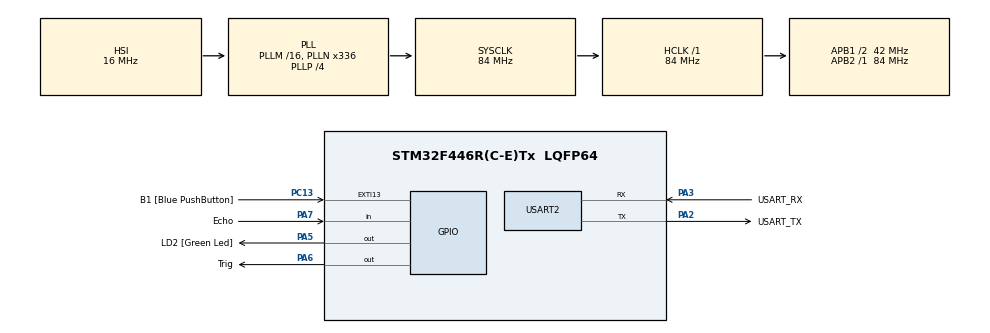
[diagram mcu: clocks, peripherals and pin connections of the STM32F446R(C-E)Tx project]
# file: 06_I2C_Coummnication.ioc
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Mcu.Family=STM32F4
Mcu.Name=STM32F446R(C-E)Tx
Mcu.Package=LQFP64
NVIC.PriorityGroup=NVIC_PRIORITYGROUP_0
PA13.GPIO_Label=TMS
PA13.Signal=SYS_JTMS-SWDIO
PA14.GPIO_Label=TCK
PA14.Signal=SYS_JTCK-SWCLK
PA2.GPIO_Label=USART_TX
PA2.Mode=Asynchronous
PA2.Signal=USART2_TX
PA3.GPIO_Label=USART_RX
PA3.Mode=Asynchronous
PA3.Signal=USART2_RX
PA5.GPIO_Label=LD2 [Green Led]
PA5.Signal=GPIO_Output
PA6.GPIO_Label=Trig
PA6.Signal=GPIO_Output
PA7.GPIO_Label=Echo
PA7.Signal=GPIO_Input
PB3.GPIO_Label=SWO
PB3.Signal=SYS_JTDO-SWO
PC13.GPIO_Label=B1 [Blue PushButton]
PC13.GPIO_ModeDefaultEXTI=GPIO_MODE_IT_FALLING
PC13.Signal=GPXTI13
PC14-OSC32_IN.Signal=RCC_OSC32_IN
PC15-OSC32_OUT.Signal=RCC_OSC32_OUT
PH0-OSC_IN.Signal=RCC_OSC_IN
PH1-OSC_OUT.Signal=RCC_OSC_OUT
ProjectManager.HeapSize=0x200
ProjectManager.StackSize=0x400
ProjectManager.TargetToolchain=STM32CubeIDE
RCC.AHBFreq_Value=84000000
RCC.APB1CLKDivider=RCC_HCLK_DIV2
RCC.APB1Freq_Value=42000000
RCC.APB1TimFreq_Value=84000000
RCC.APB2Freq_Value=84000000
RCC.APB2TimFreq_Value=84000000
RCC.CortexFreq_Value=84000000
RCC.FLatency-AdvancedSettings=FLASH_LATENCY_2
RCC.HCLKFreq_Value=84000000
RCC.HSE_VALUE=8000000
RCC.HSI_VALUE=16000000
RCC.LSE_VALUE=32768
RCC.PLLN=336
RCC.PLLP=RCC_PLLP_DIV4
RCC.SYSCLKFreq_VALUE=84000000
RCC.SYSCLKSource=RCC_SYSCLKSOURCE_PLLCLK
RCC.USBFreq_Value=168000000
RCC.VCOOutputFreq_Value=336000000
TIM2.Prescaler=83
USART2.VirtualMode=VM_ASYNC
VP_TIM2_VS_ClockSourceINT.Mode=Internal
board=NUCLEO-F446RE

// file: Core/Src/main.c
/* USER CODE BEGIN Header */
/**
  ******************************************************************************
  * @file           : main.c
  * @brief          : Main program body
  ******************************************************************************
  * @attention
  *
  * Copyright (c) 2026 STMicroelectronics.
  * All rights reserved.
  *
  * This software is licensed under terms that can be found in the LICENSE file
  * in the root directory of this software component.
  * If no LICENSE file comes with this software, it is provided AS-IS.
  *
  ******************************************************************************
  */
/* USER CODE END Header */
#include "main.h"
#include <stdio.h>
#include <string.h>

TIM_HandleTypeDef htim2;

UART_HandleTypeDef huart2;

void SystemClock_Config(void);
static void MX_GPIO_Init(void);
static void MX_TIM2_Init(void);
static void MX_USART2_UART_Init(void);
/* USER CODE BEGIN PFP */
uint32_t get_distance(void);
/* USER CODE END PFP */

int main(void)
{

  /* MCU Configuration--------------------------------------------------------*/

  /* Reset of all peripherals, Initializes the Flash interface and the Systick. */
  HAL_Init();

  /* Configure the system clock */
  SystemClock_Config();

  /* Initialize all configured peripherals */
  MX_GPIO_Init();
  MX_TIM2_Init();
  MX_USART2_UART_Init();
  /* USER CODE BEGIN 2 */
  HAL_TIM_Base_Start(&htim2);
  /* USER CODE END 2 */

  /* Infinite loop */
  while (1)
  {
	  uint32_t distance = get_distance();

	  char msg[32];
	  sprintf(msg, "Distance: %lu cm\r\n", distance);
	  HAL_UART_Transmit(&huart2, (uint8_t*)msg, strlen(msg), HAL_MAX_DELAY);

	  HAL_Delay(500);
  }
}

void SystemClock_Config(void)
{
  RCC_OscInitTypeDef RCC_OscInitStruct = {0};
  RCC_ClkInitTypeDef RCC_ClkInitStruct = {0};

  /** Configure the main internal regulator output voltage
  */
  __HAL_RCC_PWR_CLK_ENABLE();
  __HAL_PWR_VOLTAGESCALING_CONFIG(PWR_REGULATOR_VOLTAGE_SCALE3);

  /** Initializes the RCC Oscillators according to the specified parameters
  * in the RCC_OscInitTypeDef structure.
  */
  RCC_OscInitStruct.OscillatorType = RCC_OSCILLATORTYPE_HSI;
  RCC_OscInitStruct.HSIState = RCC_HSI_ON;
  RCC_OscInitStruct.HSICalibrationValue = RCC_HSICALIBRATION_DEFAULT;
  RCC_OscInitStruct.PLL.PLLState = RCC_PLL_ON;
  RCC_OscInitStruct.PLL.PLLSource = RCC_PLLSOURCE_HSI;
  RCC_OscInitStruct.PLL.PLLM = 16;
  RCC_OscInitStruct.PLL.PLLN = 336;
  RCC_OscInitStruct.PLL.PLLP = RCC_PLLP_DIV4;
  RCC_OscInitStruct.PLL.PLLQ = 2;
  RCC_OscInitStruct.PLL.PLLR = 2;
  if (HAL_RCC_OscConfig(&RCC_OscInitStruct) != HAL_OK)
  {
    Error_Handler();
  }

  /** Initializes the CPU, AHB and APB buses clocks
  */
  RCC_ClkInitStruct.ClockType = RCC_CLOCKTYPE_HCLK|RCC_CLOCKTYPE_SYSCLK
                              |RCC_CLOCKTYPE_PCLK1|RCC_CLOCKTYPE_PCLK2;
  RCC_ClkInitStruct.SYSCLKSource = RCC_SYSCLKSOURCE_PLLCLK;
  RCC_ClkInitStruct.AHBCLKDivider = RCC_SYSCLK_DIV1;
  RCC_ClkInitStruct.APB1CLKDivider = RCC_HCLK_DIV2;
  RCC_ClkInitStruct.APB2CLKDivider = RCC_HCLK_DIV1;

  if (HAL_RCC_ClockConfig(&RCC_ClkInitStruct, FLASH_LATENCY_2) != HAL_OK)
  {
    Error_Handler();
  }
}

static void MX_TIM2_Init(void)
{

  TIM_ClockConfigTypeDef sClockSourceConfig = {0};
  TIM_MasterConfigTypeDef sMasterConfig = {0};

  htim2.Instance = TIM2;
  htim2.Init.Prescaler = 83;
  htim2.Init.CounterMode = TIM_COUNTERMODE_UP;
  htim2.Init.Period = 4294967295;
  htim2.Init.ClockDivision = TIM_CLOCKDIVISION_DIV1;
  htim2.Init.AutoReloadPreload = TIM_AUTORELOAD_PRELOAD_DISABLE;
  if (HAL_TIM_Base_Init(&htim2) != HAL_OK)
  {
    Error_Handler();
  }
  sClockSourceConfig.ClockSource = TIM_CLOCKSOURCE_INTERNAL;
  if (HAL_TIM_ConfigClockSource(&htim2, &sClockSourceConfig) != HAL_OK)
  {
    Error_Handler();
  }
  sMasterConfig.MasterOutputTrigger = TIM_TRGO_RESET;
  sMasterConfig.MasterSlaveMode = TIM_MASTERSLAVEMODE_DISABLE;
  if (HAL_TIMEx_MasterConfigSynchronization(&htim2, &sMasterConfig) != HAL_OK)
  {
    Error_Handler();
  }

}

static void MX_USART2_UART_Init(void)
{

  huart2.Instance = USART2;
  huart2.Init.BaudRate = 115200;
  huart2.Init.WordLength = UART_WORDLENGTH_8B;
  huart2.Init.StopBits = UART_STOPBITS_1;
  huart2.Init.Parity = UART_PARITY_NONE;
  huart2.Init.Mode = UART_MODE_TX_RX;
  huart2.Init.HwFlowCtl = UART_HWCONTROL_NONE;
  huart2.Init.OverSampling = UART_OVERSAMPLING_16;
  if (HAL_UART_Init(&huart2) != HAL_OK)
  {
    Error_Handler();
  }

}

static void MX_GPIO_Init(void)
{
  GPIO_InitTypeDef GPIO_InitStruct = {0};

  /* GPIO Ports Clock Enable */
  __HAL_RCC_GPIOC_CLK_ENABLE();
  __HAL_RCC_GPIOH_CLK_ENABLE();
  __HAL_RCC_GPIOA_CLK_ENABLE();
  __HAL_RCC_GPIOB_CLK_ENABLE();

  /*Configure GPIO pin Output Level */
  HAL_GPIO_WritePin(GPIOA, LD2_Pin|Trig_Pin, GPIO_PIN_RESET);

  /*Configure GPIO pin : B1_Pin */
  GPIO_InitStruct.Pin = B1_Pin;
  GPIO_InitStruct.Mode = GPIO_MODE_IT_FALLING;
  GPIO_InitStruct.Pull = GPIO_NOPULL;
  HAL_GPIO_Init(B1_GPIO_Port, &GPIO_InitStruct);

  /*Configure GPIO pins : LD2_Pin Trig_Pin */
  GPIO_InitStruct.Pin = LD2_Pin|Trig_Pin;
  GPIO_InitStruct.Mode = GPIO_MODE_OUTPUT_PP;
  GPIO_InitStruct.Pull = GPIO_NOPULL;
  GPIO_InitStruct.Speed = GPIO_SPEED_FREQ_LOW;
  HAL_GPIO_Init(GPIOA, &GPIO_InitStruct);

  /*Configure GPIO pin : Echo_Pin */
  GPIO_InitStruct.Pin = Echo_Pin;
  GPIO_InitStruct.Mode = GPIO_MODE_INPUT;
  GPIO_InitStruct.Pull = GPIO_NOPULL;
  HAL_GPIO_Init(Echo_GPIO_Port, &GPIO_InitStruct);

}

/* USER CODE BEGIN 4 */
uint32_t get_distance(void)
{
    uint32_t pulse_time = 0;
    uint32_t timeout_start;

    // 1. Trig 핀 10us 펄스 발생
    HAL_GPIO_WritePin(Trig_GPIO_Port, Trig_Pin, GPIO_PIN_SET);
    __HAL_TIM_SET_COUNTER(&htim2, 0);
    while (__HAL_TIM_GET_COUNTER(&htim2) < 10);
    HAL_GPIO_WritePin(Trig_GPIO_Port, Trig_Pin, GPIO_PIN_RESET);

    // 2. Echo가 High로 올라갈 때까지 대기 (타임아웃 포함)
    timeout_start = HAL_GetTick();
    while (HAL_GPIO_ReadPin(Echo_GPIO_Port, Echo_Pin) == GPIO_PIN_RESET)
    {
        if ((HAL_GetTick() - timeout_start) > 50) return 0;
    }

    // 3. Echo가 High인 동안 시간 측정
    __HAL_TIM_SET_COUNTER(&htim2, 0);
    timeout_start = HAL_GetTick();
    while (HAL_GPIO_ReadPin(Echo_GPIO_Port, Echo_Pin) == GPIO_PIN_SET)
    {
        if ((HAL_GetTick() - timeout_start) > 50) return 0;
    }
    pulse_time = __HAL_TIM_GET_COUNTER(&htim2);

    // 4. 거리 계산 (cm)
    return pulse_time / 58;
}
/* USER CODE END 4 */

void Error_Handler(void)
{
  __disable_irq();
  while (1)
  {
  }
}
